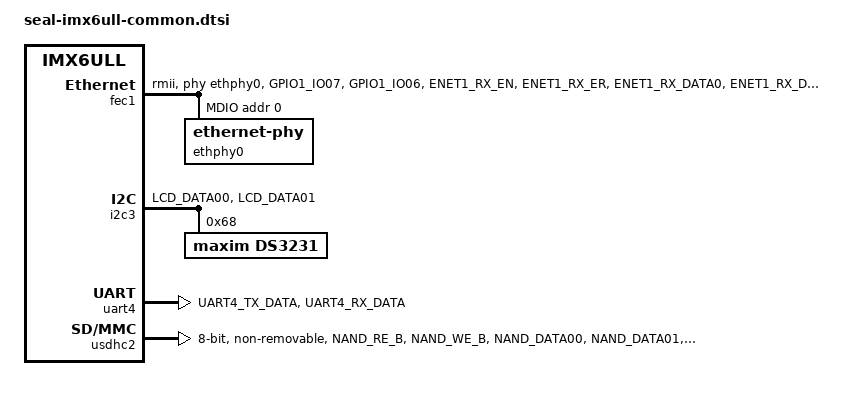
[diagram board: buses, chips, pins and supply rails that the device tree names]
// SPDX-License-Identifier: GPL-2.0+
/*
 * Copyright (C) 2020 SEAL AG
 */

/dts-v1/;

#include "imx6ull.dtsi"

/ {
	chosen {
		stdout-path = &uart4;
	};

	memory {
		reg = <0x80000000 0>;
	};
};

&cpu0 {
	arm-supply = <&reg_arm>;
	soc-supply = <&reg_soc>;
};

&fec1 {
	pinctrl-names = "default";
	pinctrl-0 = <&pinctrl_enet1>;
	phy-mode = "rmii";
	phy-handle = <&ethphy0>;
	status = "okay";

	phy-reset-gpios = <&gpio2 11 GPIO_ACTIVE_LOW>;
	phy-reset-duration = <10>;
	phy-reset-post-delay = <1>;

	mdio {
		#address-cells = <1>;
		#size-cells = <0>;

		ethphy0: ethernet-phy@0 {
			reg = <0>;
		};
	};
};

&i2c3 {
	pinctrl-names = "default";
	pinctrl-0 = <&pinctrl_i2c3>;
	clock_frequency = <400000>;
	status = "okay";

	ds3231: ds3231@68 {
		#clock-cells = <1>;
		compatible = "maxim,ds3231", "dallas,ds3231";
		reg = <0x68>;
	};
};

&iomuxc {
	pinctrl_enet1: enet1grp {
		fsl,pins = <
			MX6UL_PAD_GPIO1_IO07__ENET1_MDC		0x1b0a9
			MX6UL_PAD_GPIO1_IO06__ENET1_MDIO	0x1b0a9
			MX6UL_PAD_ENET1_RX_EN__ENET1_RX_EN	0x1f0a9
			MX6UL_PAD_ENET1_RX_ER__ENET1_RX_ER	0x1b0a9
			MX6UL_PAD_ENET1_RX_DATA0__ENET1_RDATA00	0x1f0a9
			MX6UL_PAD_ENET1_RX_DATA1__ENET1_RDATA01	0x1f0a9
			MX6UL_PAD_ENET1_TX_EN__ENET1_TX_EN	0x1b0a9
			MX6UL_PAD_ENET1_TX_DATA0__ENET1_TDATA00	0x1b0a9
			MX6UL_PAD_ENET1_TX_DATA1__ENET1_TDATA01	0x1b0a9
			MX6UL_PAD_ENET1_TX_CLK__ENET1_REF_CLK1	0x4001b031
			MX6UL_PAD_SNVS_TAMPER5__GPIO5_IO05	0x1b0b0
			MX6UL_PAD_ENET2_TX_DATA0__GPIO2_IO11	0x18
		>;
	};

	pinctrl_i2c3: i2c3grp {
		fsl,pins = <
			MX6UL_PAD_LCD_DATA00__I2C3_SDA	0x4001b8b0
			MX6UL_PAD_LCD_DATA01__I2C3_SCL	0x4001b8b0
		>;
	};

	pinctrl_uart4: uart4grp {
		fsl,pins = <
			MX6UL_PAD_UART4_TX_DATA__UART4_DCE_TX	0x1b0b1
			MX6UL_PAD_UART4_RX_DATA__UART4_DCE_RX	0x1b0b1
		>;
	};

	pinctrl_usdhc2: usdhc2grp {
		fsl,pins = <
			MX6UL_PAD_NAND_RE_B__USDHC2_CLK		0x17070
			MX6UL_PAD_NAND_WE_B__USDHC2_CMD		0x10070
			MX6UL_PAD_NAND_DATA00__USDHC2_DATA0	0x17070
			MX6UL_PAD_NAND_DATA01__USDHC2_DATA1	0x17070
			MX6UL_PAD_NAND_DATA02__USDHC2_DATA2	0x17070
			MX6UL_PAD_NAND_DATA03__USDHC2_DATA3	0x17070
			MX6UL_PAD_NAND_DATA04__USDHC2_DATA4	0x17070
			MX6UL_PAD_NAND_DATA05__USDHC2_DATA5	0x17070
			MX6UL_PAD_NAND_DATA06__USDHC2_DATA6	0x17070
			MX6UL_PAD_NAND_DATA07__USDHC2_DATA7	0x17070
			MX6UL_PAD_NAND_ALE__USDHC2_RESET_B	0x17070
		>;
	};
};

&uart4 {
	pinctrl-names = "default";
	pinctrl-0 = <&pinctrl_uart4>;
	status = "okay";
};

&usdhc2 {
	pinctrl-names = "default";
	pinctrl-0 = <&pinctrl_usdhc2>;
	bus-width = <8>;
	no-1-8-v;
	non-removable;
	status = "okay";
};
